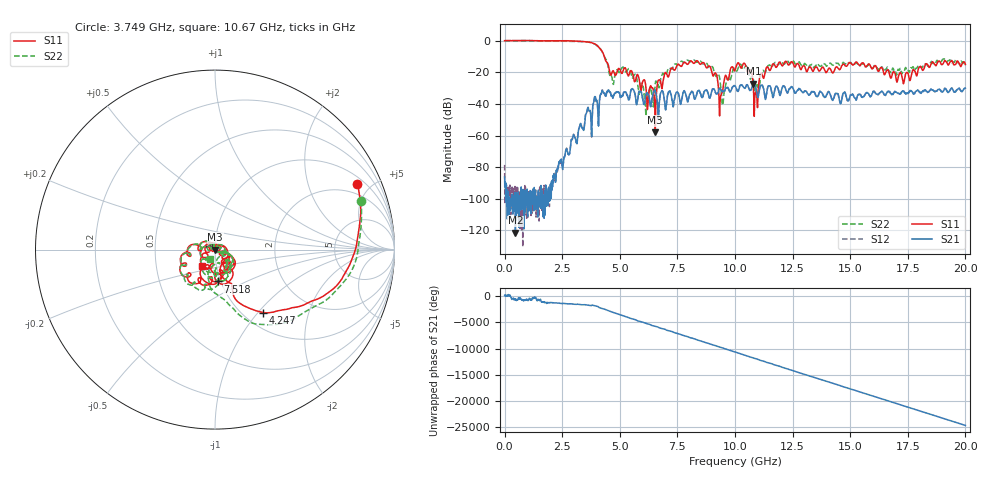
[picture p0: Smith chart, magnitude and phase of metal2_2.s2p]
#  HZ  S  RI  R  50.00
! Rohde & Schwarz Vector Network Analyzer
! Rohde-Schwarz,ZNB20-2Port,1311601062102128,3.60
! Created: UTC 4/29/2024, 3:56:06 PM
! freq[Hz]  re:S11  im:S11  re:S21  im:S21  re:S12  im:S12  re:S22  im:S22
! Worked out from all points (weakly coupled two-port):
!   2007 points, 100 kHz to 20 GHz, reference 50 ohm
!   highest |S21| = -27.31 dB at 10.8 GHz (marker M1); lowest = -121.5 dB at 468.7 MHz (marker M2)
!   lowest |S11| = -58.0 dB at 6.54 GHz (marker M3), VSWR 1.00, Z = 50.1 + j0.026 ohm
!   |S11| at or under -10 dB: 4.327 GHz to end of sweep
!   |S22| runs from -47.6 to 0.1 dB; largest |S21 - S12| = 0.0024
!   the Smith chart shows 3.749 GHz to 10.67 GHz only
!   S11 on the Smith chart (normalised r, x): 3.749 GHz: 1.36, +4.16; 4.247 GHz: 1.22, -1.06; 7.518 GHz: 0.97, -0.36; 10.67 GHz: 0.85, -0.16
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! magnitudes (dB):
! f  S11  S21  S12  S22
! 100 kHz  0.0  -86.2  -78.6  0.1
! 468.7 MHz  0.0  -121.5  -97.4  0.0
! 2.233 GHz  0.0  -85.8  -83.8  -0.3
! 3.34 GHz  -0.6  -54.7  -54.3  -0.6
! 3.749 GHz  -1.2  -49.9  -49.8  -1.3
! 4.247 GHz  -7.1  -31.5  -31.2  -7.5
! 4.656 GHz  -20.2  -34.6  -34.6  -23.1
! 5.394 GHz  -21.9  -37.4  -37.5  -17.7
! 6.142 GHz  -30.5  -34.0  -34.0  -45.3
! 6.54 GHz  -58.0  -31.6  -31.7  -27.0
! 6.67 GHz  -25.1  -49.8  -50.0  -27.8
! 7.518 GHz  -15.0  -32.8  -32.9  -15.4
! 8.883 GHz  -16.1  -36.2  -36.2  -17.1
! 9.382 GHz  -34.8  -31.0  -30.9  -29.0
! 10 GHz  -18.8  -28.7  -28.7  -17.7
! 10.67 GHz  -18.5  -31.3  -31.4  -24.4
! 10.8 GHz  -30.0  -27.3  -27.4  -24.2
! 10.91 GHz  -32.6  -30.2  -30.3  -30.7
! 11.67 GHz  -14.6  -35.3  -35.3  -14.9
! 13.34 GHz  -18.7  -32.1  -32.2  -15.0
! 16.67 GHz  -19.3  -32.0  -32.1  -19.3
! 20 GHz  -15.1  -30.0  -30.1  -15.1
